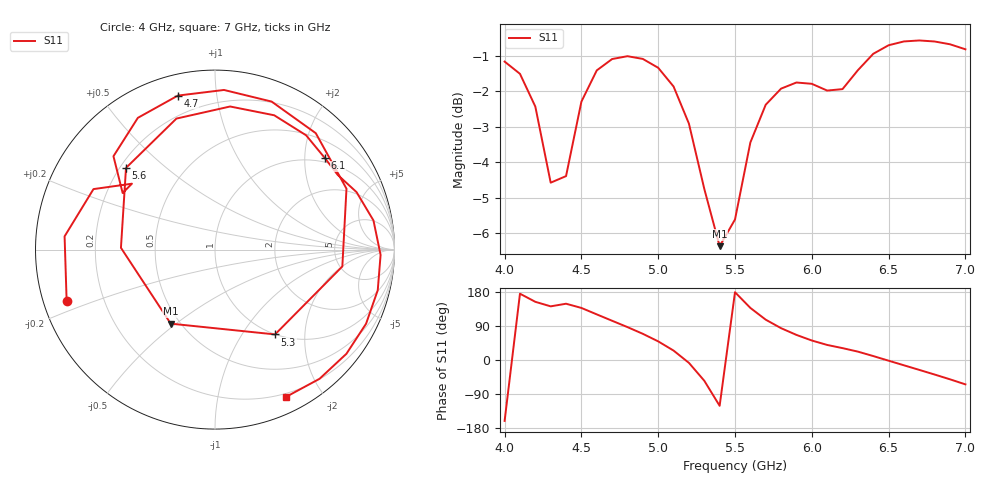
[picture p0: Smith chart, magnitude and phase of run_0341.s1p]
! Touchstone file exported from HFSS 2024.2.0
!  File:  C:/Users/wsak9/Desktop/Sim Fast/Widenad Patch/WP_AI_V1_sweep.aedt
!  Generated:  05:28:42 AM Oct 14, 2026
!  Design:  A1_model
!  Project:  WP_AI_V1_sweep
!  Setup:  Setup1
!  Solution:  Sweep
! Variables:
!  Air_gap = 1.64mm
!  Curve_Amp1 = 3.79
!  Curve_len1 = 1
!  Curve_pos = 11.89mm
!  Extra = 2.55mm
!  H_sub = 0.79mm
!  L_Patch = 19.78mm
!  L_Patch1 = 16.91mm
!  Sx = 0.86mm
!  Sy = 1.46mm
!  WS = 0.7mm
!  W_Patch = 22.35mm
!  W_Patch1 = 14.36mm
!Data is not renormalized
# GHz S MA
! Terminal data exported
! Port[1] = 1
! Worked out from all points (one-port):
!   31 points, 4 GHz to 7 GHz, reference per port
!   lowest |S11| = -6.4 dB at 5.4 GHz (marker M1), VSWR 2.85
!   |S11| at or under -10 dB: nowhere
!   S11 on the Smith chart (normalised r, x): 4 GHz: 0.07, -0.17; 4.7 GHz: 0.10, +0.78; 5.3 GHz: 1.00, -1.42; 5.6 GHz: 0.22, +0.37; 6.1 GHz: 0.89, +2.49; 7 GHz: 0.16, -1.58
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4  0.8753 -160.8
4.1  0.8413 175.0
4.2  0.7564 153.5
4.3  0.5908 141.6
4.4  0.6035 148.5
4.5  0.7686 137.4
4.6  0.8507 120.3
4.7  0.8827 103.5
4.8  0.8908 86.8
4.9  0.8829 69.1
5  0.8579 49.1
5.1  0.8073 24.9
5.2  0.7156 -7.5
5.3  0.579 -54.7
5.4  0.4807 -120.9
5.5  0.5241 178.9
5.6  0.6731 137.4
5.7  0.7609 106.4
5.8  0.8018 84.0
5.9  0.8179 66.2
6  0.8144 51.5
6.1  0.7968 39.7
6.3  0.8511 22.1
6.4  0.8977 10.4
6.5  0.9231 -1.8
6.7  0.9375 -26.1
6.8  0.9344 -38.4
7  0.9111 -64.3
